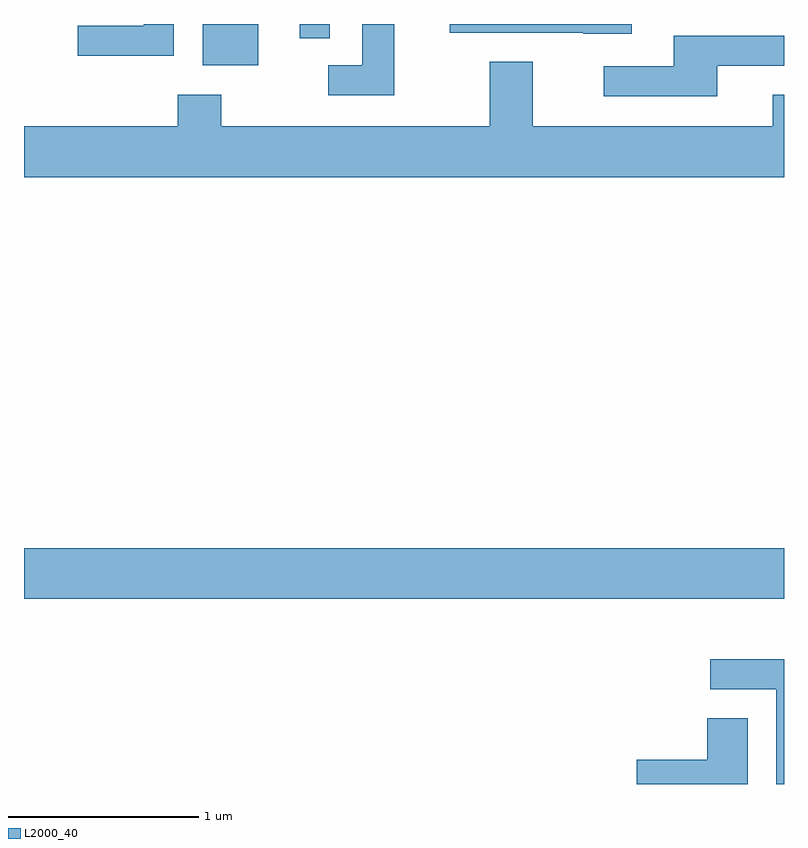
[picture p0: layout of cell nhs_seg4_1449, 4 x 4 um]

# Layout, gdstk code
import gdstk
lib = gdstk.Library(unit=1e-6, precision=1e-09)
def R(c, l, rs):  # rectangles x0, y0, x1, y1
    for r in rs: c.add(gdstk.rectangle(r[:2], r[2:], *l))
def P(c, l, *ps):  # polygons
    for p in ps: c.add(gdstk.Polygon(p, *l))
L2000_40 = (2000, 40)

nhs_seg4_1449 = lib.new_cell('nhs_seg4_1449')
R(nhs_seg4_1449, L2000_40, [(227.611,1296.956,231.611,1297.224), (228.551,1299.766,228.844,1299.982), (229.061,1299.908,229.219,1299.982)])
P(nhs_seg4_1449, L2000_40, [(230.809,1299.982),(229.851,1299.982),(229.851,1299.936),(230.555,1299.936),(230.555,1299.931),(230.809,1299.931)],
  [(229.559,1299.982),(229.391,1299.982),(229.391,1299.764),(229.213,1299.764),(229.213,1299.606),(229.559,1299.606)],
  [(228.399,1299.982),(228.241,1299.982),(228.241,1299.974),(227.893,1299.974),(227.893,1299.816),(228.399,1299.816)],
  [(231.259,1299.761),(231.611,1299.761),(231.611,1299.919),(231.031,1299.919),(231.031,1299.759),(230.663,1299.759),(230.663,1299.601),(231.259,1299.601)],
  [(231.611,1299.609),(231.551,1299.609),(231.551,1299.444),(230.289,1299.444),(230.289,1299.784),(230.061,1299.784),(230.061,1299.444),(228.649,1299.444),(228.649,1299.609),(228.421,1299.609),(228.421,1299.444),(227.611,1299.444),(227.611,1299.176),(231.611,1299.176)],
  [(231.611,1296.639),(231.223,1296.639),(231.223,1296.481),(231.571,1296.481),(231.571,1295.982),(231.611,1295.982)],
  [(231.419,1296.329),(231.206,1296.329),(231.206,1296.109),(230.836,1296.109),(230.836,1295.982),(231.419,1295.982)])

lib.write_gds('nhs_seg4_1449.gds')
